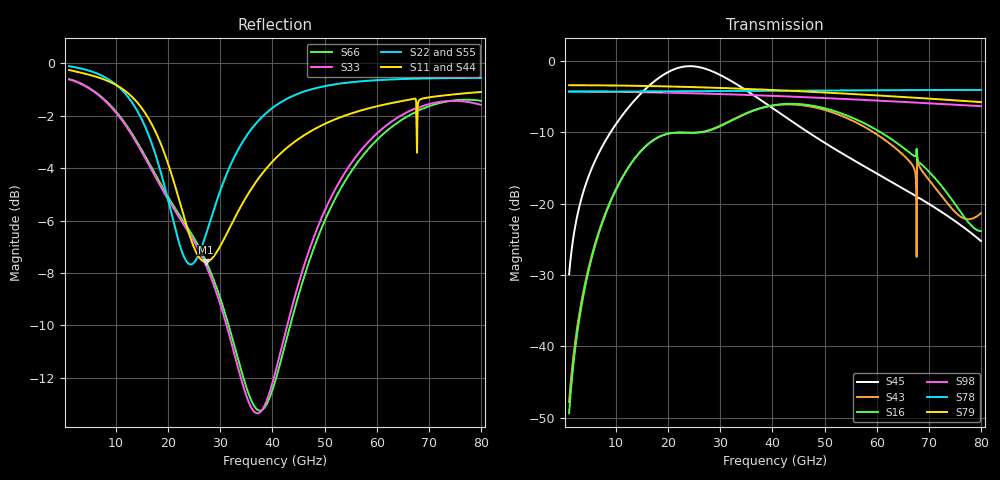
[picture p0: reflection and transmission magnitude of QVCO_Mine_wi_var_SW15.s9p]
! Touchstone Ver. 1.0
! Number of ports is 9
# Hz	S	RI	R	50.000000
! SCATTERING PARAMETERS  :
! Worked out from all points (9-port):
!   1001 points, 1 GHz to 80 GHz, reference 50 ohm
!   strongest paths, dB at 1 GHz, 20.75 GHz, 40.5 GHz, 60.25 GHz, 80 GHz:
!     S79: -3.4, -3.6, -4.1, -4.8, -5.8
!     S78: -4.3, -4.2, -4.2, -4.1, -4.0
!     S98: -4.3, -4.4, -4.9, -5.5, -6.3
!     S16: -49.4, -10.1, -6.2, -9.8, -23.9
!     S43: -47.8, -10.1, -6.2, -10.4, -21.3
!     S45: -29.9, -1.3, -6.8, -15.9, -25.2
!   lowest |S11| = -7.6 dB at 27.23 GHz (marker M1), VSWR 2.44, Z = 54.8 + j47.9 ohm
!   |S11| at or under -10 dB: nowhere
